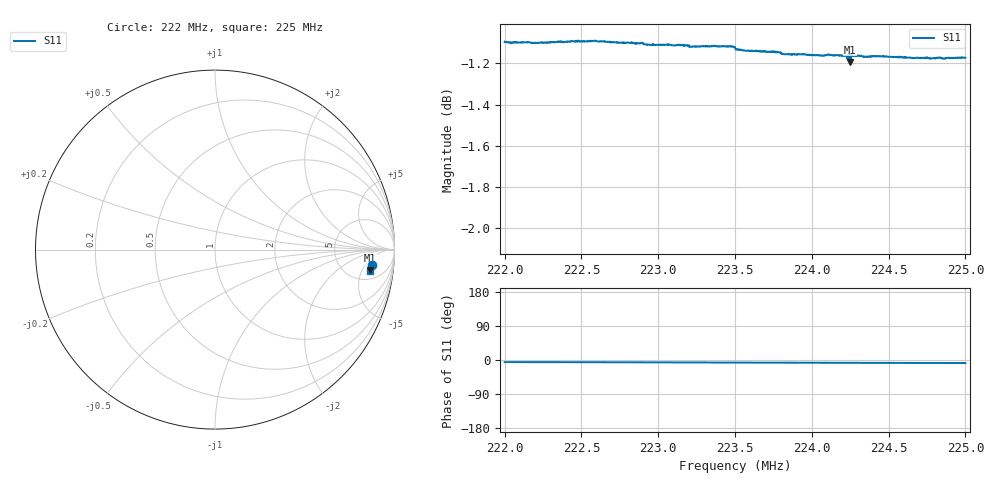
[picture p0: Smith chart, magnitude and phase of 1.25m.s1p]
! Calibrated averaged scanner-service zoom
# Hz S RI R 50
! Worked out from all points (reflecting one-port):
!   1001 points, 222 MHz to 225 MHz, reference 50 ohm
!   lowest |S11| = -1.2 dB at 224.25 MHz (marker M1), VSWR 14.59, Z = 377 - j363 ohm
!   phase of S11 starts at -6 deg and turns -2 deg over the sweep
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2.22e8  0.8775 -0.0848
2.22198e8  0.8769 -0.0863
2.22375e8  0.8772 -0.0875
2.22585e8  0.8775 -0.089
2.22618e8  0.8769 -0.0927
2.2275e8  0.8759 -0.0947
2.22885e8  0.8757 -0.096
2.22942e8  0.8748 -0.0966
2.23125e8  0.8746 -0.0977
2.23185e8  0.8741 -0.0986
2.23218e8  0.8733 -0.1001
2.23365e8  0.8739 -0.1008
2.23476e8  0.8734 -0.1024
2.235e8  0.873 -0.1028
2.23518e8  0.8714 -0.1043
2.23566e8  0.8709 -0.1048
2.23785e8  0.8698 -0.1073
2.23818e8  0.8687 -0.1088
2.23875e8  0.8685 -0.1093
2.24064e8  0.8677 -0.1112
2.24118e8  0.8679 -0.1117
2.24247e8  0.8641 -0.1155
2.2425e8  0.8675 -0.1131
2.24271e8  0.8674 -0.1134
2.24418e8  0.8668 -0.1154
2.24625e8  0.8659 -0.1175
2.24856e8  0.865 -0.1201
2.25e8  0.8653 -0.1211
